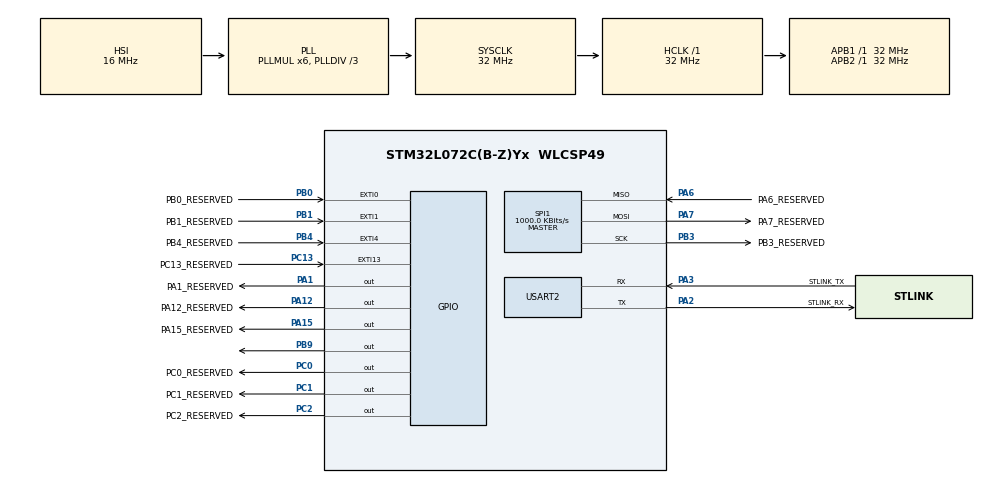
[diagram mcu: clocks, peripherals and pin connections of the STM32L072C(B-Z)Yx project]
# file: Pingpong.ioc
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Mcu.Family=STM32L0
Mcu.Name=STM32L072C(B-Z)Yx
Mcu.Package=WLCSP49
NVIC.EXTI0_1_IRQn=true\:0\:0\:false\:false\:true\:true\:true\:true
NVIC.EXTI4_15_IRQn=true\:0\:0\:false\:false\:true\:true\:true\:true
NVIC.RTC_IRQn=true\:0\:0\:false\:false\:true\:true\:true\:true
NVIC.TIM2_IRQn=true\:0\:0\:false\:false\:true\:true\:true\:true
NVIC.USART2_IRQn=true\:0\:0\:false\:false\:true\:true\:true\:true
PA1.GPIO_Label=PA1_RESERVED
PA1.GPIO_Speed=GPIO_SPEED_FREQ_HIGH
PA1.PinState=GPIO_PIN_RESET
PA1.Signal=GPIO_Output
PA12.GPIO_Label=PA12_RESERVED
PA12.GPIO_Speed=GPIO_SPEED_FREQ_HIGH
PA12.Signal=GPIO_Output
PA15.GPIO_Label=PA15_RESERVED
PA15.GPIO_Speed=GPIO_SPEED_FREQ_HIGH
PA15.Signal=GPIO_Output
PA2.GPIO_Label=STLINK_RX
PA2.Mode=Asynchronous
PA2.Signal=USART2_TX
PA3.GPIO_Label=STLINK_TX
PA3.Mode=Asynchronous
PA3.Signal=USART2_RX
PA6.GPIO_Label=PA6_RESERVED
PA6.Mode=Full_Duplex_Master
PA6.Signal=SPI1_MISO
PA7.GPIO_Label=PA7_RESERVED
PA7.Mode=Full_Duplex_Master
PA7.Signal=SPI1_MOSI
PB0.GPIO_Label=PB0_RESERVED
PB0.Signal=GPXTI0
PB1.GPIO_Label=PB1_RESERVED
PB1.Signal=GPXTI1
PB3.GPIO_Label=PB3_RESERVED
PB3.Mode=Full_Duplex_Master
PB3.Signal=SPI1_SCK
PB4.GPIO_Label=PB4_RESERVED
PB4.Signal=GPXTI4
PB9.Signal=GPIO_Output
PC0.GPIO_Label=PC0_RESERVED
PC0.GPIO_Speed=GPIO_SPEED_FREQ_HIGH
PC0.Signal=GPIO_Output
PC1.GPIO_Label=PC1_RESERVED
PC1.GPIO_Speed=GPIO_SPEED_FREQ_HIGH
PC1.Signal=GPIO_Output
PC13.GPIO_Label=PC13_RESERVED
PC13.Signal=GPXTI13
PC2.GPIO_Label=PC2_RESERVED
PC2.GPIO_Speed=GPIO_SPEED_FREQ_HIGH
PC2.Signal=GPIO_Output
PH0-OSC_IN.Mode=HSE-External-Oscillator
PH0-OSC_IN.Signal=RCC_OSC_IN
PH1-OSC_OUT.Mode=HSE-External-Oscillator
PH1-OSC_OUT.Signal=RCC_OSC_OUT
ProjectManager.HeapSize=0x200
ProjectManager.StackSize=0x400
ProjectManager.TargetToolchain=STM32CubeIDE
RCC.AHBFreq_Value=32000000
RCC.APB1Freq_Value=32000000
RCC.APB1TimFreq_Value=32000000
RCC.APB2Freq_Value=32000000
RCC.APB2TimFreq_Value=32000000
RCC.HCLKFreq_Value=32000000
RCC.HSE_VALUE=8000000
RCC.HSI16_VALUE=16000000
RCC.HSI48_VALUE=48000000
RCC.HSI_VALUE=16000000
RCC.LSE_VALUE=32768
RCC.MSI_VALUE=2097000
RCC.PLLDIV=RCC_PLLDIV_3
RCC.PLLMUL=RCC_PLLMUL_6
RCC.SYSCLKFreq_VALUE=32000000
RCC.SYSCLKSource=RCC_SYSCLKSOURCE_PLLCLK
RCC.VCOOutputFreq_Value=96000000
RTC.Alarm-Alarm\ A=RTC_ALARM_A
RTC.AlarmSubSecondMask-Alarm\ A=RTC_ALARMSUBSECONDMASK_NONE
RTC.AsynchPrediv=31
RTC.Format=RTC_FORMAT_BIN
RTC.SynchPrediv=1023
SPI1.BaudRatePrescaler=SPI_BAUDRATEPRESCALER_32
SPI1.CalculateBaudRate=1000.0 KBits/s
SPI1.Direction=SPI_DIRECTION_2LINES
SPI1.Mode=SPI_MODE_MASTER
SPI1.VirtualType=VM_MASTER
TIM2.Prescaler=31
USART2.VirtualMode-Asynchronous=VM_ASYNC
VP_RTC_VS_RTC_Activate.Mode=RTC_Enabled
VP_RTC_VS_RTC_Alarm_A_Intern.Mode=Alarm A
VP_RTC_VS_RTC_Calendar.Mode=RTC_Calendar
VP_TIM2_VS_ClockSourceINT.Mode=Internal
board=B-L072Z-LRWAN1

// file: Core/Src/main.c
/* USER CODE BEGIN Header */
/**
  ******************************************************************************
  * @file           : main.c
  * @brief          : Main program body
  ******************************************************************************
  * @attention
  *
  * Copyright (c) 2023 STMicroelectronics.
  * All rights reserved.
  *
  * This software is licensed under terms that can be found in the LICENSE file
  * in the root directory of this software component.
  * If no LICENSE file comes with this software, it is provided AS-IS.
  *
  ******************************************************************************
  */
/* USER CODE END Header */
#include "main.h"

/* USER CODE BEGIN Includes */
#include "stdio.h"
#include "stm32l0xx_hal.h"

/* USER CODE END Includes */

RTC_HandleTypeDef hrtc;

SPI_HandleTypeDef hspi1;

TIM_HandleTypeDef htim2;

UART_HandleTypeDef huart2;

void SystemClock_Config(void);
static void MX_GPIO_Init(void);
static void MX_RTC_Init(void);
static void MX_SPI1_Init(void);
static void MX_USART2_UART_Init(void);
static void MX_TIM2_Init(void);

/* USER CODE BEGIN 0 */
#define DHT11_PORT GPIOB
#define DHT11_PIN GPIO_PIN_9
uint8_t  SUM;
uint32_t pMillis, cMillis;
float tCelsius = 0;
//float tFahrenheit = 0;
float RH = 0;
//uint8_t TFI = 0;
//uint8_t TFD = 0;
char strCopy[15];

uint8_t test[]="hello !!!";
uint8_t n1[] = "\r\n";
uint8_t test1[]="hello";
uint8_t urtrx[]={0};

uint8_t dht_data[4];

// Définir la taille des tableaux de données
#define DATA_SIZE 8

// Déclarer les tableaux de données en tant que variables globales
uint8_t RHI[DATA_SIZE];
uint8_t RHD[DATA_SIZE];
uint8_t TCI[DATA_SIZE];
uint8_t TCD[DATA_SIZE];

void microDelay (uint16_t delay)
{
  __HAL_TIM_SET_COUNTER(&htim2, 0);
  while (__HAL_TIM_GET_COUNTER(&htim2) < delay);
}

uint8_t DHT11_Start (void)
{
  uint8_t Response = 0;
  GPIO_InitTypeDef GPIO_InitStructPrivate = {0};
  GPIO_InitStructPrivate.Pin = DHT11_PIN;
  GPIO_InitStructPrivate.Mode = GPIO_MODE_OUTPUT_PP;
  GPIO_InitStructPrivate.Speed = GPIO_SPEED_FREQ_LOW;
  GPIO_InitStructPrivate.Pull = GPIO_NOPULL;
  HAL_GPIO_Init(DHT11_PORT, &GPIO_InitStructPrivate); // set the pin as output
  HAL_GPIO_WritePin (DHT11_PORT, DHT11_PIN, 0);   // pull the pin low
  HAL_Delay(20);   // wait for 20ms
  HAL_GPIO_WritePin (DHT11_PORT, DHT11_PIN, 1);   // pull the pin high
  microDelay (30);   // wait for 30ms
  GPIO_InitStructPrivate.Mode = GPIO_MODE_INPUT;
  GPIO_InitStructPrivate.Pull = GPIO_PULLUP;
  HAL_GPIO_Init(DHT11_PORT, &GPIO_InitStructPrivate); // set the pin as input
  microDelay (40);
  if (!(HAL_GPIO_ReadPin (DHT11_PORT, DHT11_PIN)))
  {
    microDelay (80);
    if ((HAL_GPIO_ReadPin (DHT11_PORT, DHT11_PIN))) Response = 1;
  }
  pMillis = HAL_GetTick();
  cMillis = HAL_GetTick();
  while ((HAL_GPIO_ReadPin (DHT11_PORT, DHT11_PIN)) && pMillis + 2 > cMillis)
  {
    cMillis = HAL_GetTick();
  }
  return Response;
}
uint8_t DHT11_Read (void)
{
  uint8_t a,b;
  for (a=0;a<8;a++)
  {
    pMillis = HAL_GetTick();
    cMillis = HAL_GetTick();
    while (!(HAL_GPIO_ReadPin (DHT11_PORT, DHT11_PIN)) && pMillis + 2 > cMillis)
    {  // wait for the pin to go high
      cMillis = HAL_GetTick();
    }
    microDelay (40);   // wait for 40 us
    if (!(HAL_GPIO_ReadPin (DHT11_PORT, DHT11_PIN)))   // if the pin is low
      b&= ~(1<<(7-a));
    else
      b|= (1<<(7-a));
    pMillis = HAL_GetTick();
    cMillis = HAL_GetTick();
    while ((HAL_GPIO_ReadPin (DHT11_PORT, DHT11_PIN)) && pMillis + 2 > cMillis)
    {  // wait for the pin to go low
      cMillis = HAL_GetTick();
    }
  }
  return b;
}
// Déclarer les fonctions de l'UART
void uart_transmit_data(uint8_t* data, uint16_t size);
void uart_receive_data(uint8_t* data, uint16_t size);
/* USER CODE END 0 */

int main(void)
{
  /* USER CODE BEGIN 1 */
	// Initialiser les tableaux de données avec des valeurs par défaut
	    for (int i = 0; i < DATA_SIZE; i++) {
	        RHI[i] = 0;
	        RHD[i] = 0;
	        TCI[i] = 0;
	        TCD[i] = 0;
	    }

	    // Appeler la fonction de réception de l'UART pour remplir les tableaux avec les données reçues
	    uart_receive_data(RHI, DATA_SIZE);
	    uart_receive_data(RHD, DATA_SIZE);
	    uart_receive_data(TCI, DATA_SIZE);
	    uart_receive_data(TCD, DATA_SIZE);

	    // Effectuer d'autres opérations avec les tableaux de données reçus

	    // Appeler la fonction d'envoi de l'UART pour transmettre les tableaux de données
	    uart_transmit_data(RHI, DATA_SIZE);
	    uart_transmit_data(RHD, DATA_SIZE);
	    uart_transmit_data(TCI, DATA_SIZE);
	    uart_transmit_data(TCD, DATA_SIZE);
  /* USER CODE END 1 */

  /* MCU Configuration--------------------------------------------------------*/

  /* Reset of all peripherals, Initializes the Flash interface and the Systick. */
  HAL_Init();

  /* Configure the system clock */
  SystemClock_Config();

  /* Initialize all configured peripherals */
  MX_GPIO_Init();
  MX_RTC_Init();
  MX_SPI1_Init();
  MX_USART2_UART_Init();
  MX_TIM2_Init();
  /* USER CODE BEGIN 2 */
  HAL_TIM_Base_Start(&htim2);

   //HAL_UART_Transmit(&huart2, test, sizeof(test), 25);
   //HAL_UART_Transmit(&huart2, n1, sizeof(n1), 25);
   //HAL_UART_Transmit(&huart2, test1, sizeof(test1), 25);

  // HAL_UART_Receive(&huart2, urtrx, sizeof(urtrx), 5000);
  // HAL_UART_Transmit(&huart2, n1, sizeof(n1), 25);
  // HAL_UART_Transmit(&huart2, urtrx, sizeof(urtrx), 25);

   //HAL_UART_Transmit(&huart2, RHI, sizeof(TCI), 25);
   //HAL_UART_Transmit(&huart2, n1, sizeof(n1), 25);
   //HAL_UART_Transmit(&huart2, RHD, sizeof(TCD), 25);

   //HAL_UART_Receive(&huart2, urtrx, sizeof(urtrx), 5000);
   //HAL_UART_Transmit(&huart2, n1, sizeof(n1), 25);
  // HAL_UART_Transmit(&huart2, urtrx, sizeof(urtrx), 25);
  /* USER CODE END 2 */

  /* Infinite loop */
  /* USER CODE BEGIN WHILE */
  while (1)
  {

	  if(DHT11_Start())
	      {
		  // Lire les données DHT11 dans le tableau temporaire
		//  DHT11_Read(dht_data);

		  // Copier les éléments du tableau temporaire dans les tableaux correspondants
		  for (int i = 0; i < DATA_SIZE; i++) {
		      RHI[i] = dht_data[0];
		      RHD[i] = dht_data[1];
		      TCI[i] = dht_data[2];
		      TCD[i] = dht_data[3];
		  }
	        //RHI = DHT11_Read(); // Relative humidity integral
	       // RHD = DHT11_Read(); // Relative humidity decimal
	       // TCI = DHT11_Read(); // Celsius integral
	       // TCD = DHT11_Read(); // Celsius decimal
	        SUM = DHT11_Read(); // Check sum
	        if (*RHI + *RHD + *TCI + *TCD == SUM)
	        {
	          // Can use RHI and TCI for any purposes if whole number only needed
	        	tCelsius = (float)(*TCI) + (float)(*TCD/10.0);
	        	RH = (float)(*RHI) + (float)(*RHD/10.0);
	         // tFahrenheit = tCelsius * 9/5 + 32;
	          //HAL_UART_Transmit(&huart2, RHI, sizeof(TCI), 25);
	          //HAL_UART_Transmit(&huart2, n1, sizeof(n1), 25);
	          //HAL_UART_Transmit(&huart2, RHD, sizeof(TCD), 25);

	          //HAL_UART_Receive(&huart2, urtrx, sizeof(urtrx), 5000);
	          //HAL_UART_Transmit(&huart2, n1, sizeof(n1), 25);
	          //HAL_UART_Transmit(&huart2, urtrx, sizeof(urtrx), 25);
	          // Can use tCelsius, tFahrenheit and RH for any purposes
	         // TFI = tFahrenheit;  // Fahrenheit integral
	          //TFD = tFahrenheit*10-TFI*10; // Fahrenheit decimal
	          //printf(strCopy,"%d.%d C  \n ", TCI, TCD);

	         // printf(strCopy,"%d.%d F  \n ", TFI, TFD);

	          //printf(strCopy,"%d.%d %%  \n ", RHI, RHD);
	        }
	      }
	      HAL_Delay(2000);
    /* USER CODE END WHILE */

  }
}

void SystemClock_Config(void)
{
  RCC_OscInitTypeDef RCC_OscInitStruct = {0};
  RCC_ClkInitTypeDef RCC_ClkInitStruct = {0};
  RCC_PeriphCLKInitTypeDef PeriphClkInit = {0};

  /** Configure the main internal regulator output voltage
  */
  __HAL_PWR_VOLTAGESCALING_CONFIG(PWR_REGULATOR_VOLTAGE_SCALE1);

  /** Initializes the RCC Oscillators according to the specified parameters
  * in the RCC_OscInitTypeDef structure.
  */
  RCC_OscInitStruct.OscillatorType = RCC_OSCILLATORTYPE_HSI|RCC_OSCILLATORTYPE_LSI;
  RCC_OscInitStruct.HSIState = RCC_HSI_ON;
  RCC_OscInitStruct.HSICalibrationValue = RCC_HSICALIBRATION_DEFAULT;
  RCC_OscInitStruct.LSIState = RCC_LSI_ON;
  RCC_OscInitStruct.PLL.PLLState = RCC_PLL_ON;
  RCC_OscInitStruct.PLL.PLLSource = RCC_PLLSOURCE_HSI;
  RCC_OscInitStruct.PLL.PLLMUL = RCC_PLLMUL_6;
  RCC_OscInitStruct.PLL.PLLDIV = RCC_PLLDIV_3;
  if (HAL_RCC_OscConfig(&RCC_OscInitStruct) != HAL_OK)
  {
    Error_Handler();
  }

  /** Initializes the CPU, AHB and APB buses clocks
  */
  RCC_ClkInitStruct.ClockType = RCC_CLOCKTYPE_HCLK|RCC_CLOCKTYPE_SYSCLK
                              |RCC_CLOCKTYPE_PCLK1|RCC_CLOCKTYPE_PCLK2;
  RCC_ClkInitStruct.SYSCLKSource = RCC_SYSCLKSOURCE_PLLCLK;
  RCC_ClkInitStruct.AHBCLKDivider = RCC_SYSCLK_DIV1;
  RCC_ClkInitStruct.APB1CLKDivider = RCC_HCLK_DIV1;
  RCC_ClkInitStruct.APB2CLKDivider = RCC_HCLK_DIV1;

  if (HAL_RCC_ClockConfig(&RCC_ClkInitStruct, FLASH_LATENCY_1) != HAL_OK)
  {
    Error_Handler();
  }
  PeriphClkInit.PeriphClockSelection = RCC_PERIPHCLK_USART2|RCC_PERIPHCLK_RTC;
  PeriphClkInit.Usart2ClockSelection = RCC_USART2CLKSOURCE_PCLK1;
  PeriphClkInit.RTCClockSelection = RCC_RTCCLKSOURCE_LSI;
  if (HAL_RCCEx_PeriphCLKConfig(&PeriphClkInit) != HAL_OK)
  {
    Error_Handler();
  }
}

static void MX_RTC_Init(void)
{

  RTC_TimeTypeDef sTime = {0};
  RTC_DateTypeDef sDate = {0};
  RTC_AlarmTypeDef sAlarm = {0};

  /** Initialize RTC Only
  */
  hrtc.Instance = RTC;
  hrtc.Init.HourFormat = RTC_HOURFORMAT_24;
  hrtc.Init.AsynchPrediv = 31;
  hrtc.Init.SynchPrediv = 1023;
  hrtc.Init.OutPut = RTC_OUTPUT_DISABLE;
  hrtc.Init.OutPutRemap = RTC_OUTPUT_REMAP_NONE;
  hrtc.Init.OutPutPolarity = RTC_OUTPUT_POLARITY_HIGH;
  hrtc.Init.OutPutType = RTC_OUTPUT_TYPE_OPENDRAIN;
  if (HAL_RTC_Init(&hrtc) != HAL_OK)
  {
    Error_Handler();
  }

  /** Initialize RTC and set the Time and Date
  */
  sTime.Hours = 0;
  sTime.Minutes = 0;
  sTime.Seconds = 0;
  sTime.DayLightSaving = RTC_DAYLIGHTSAVING_NONE;
  sTime.StoreOperation = RTC_STOREOPERATION_RESET;
  if (HAL_RTC_SetTime(&hrtc, &sTime, RTC_FORMAT_BIN) != HAL_OK)
  {
    Error_Handler();
  }
  sDate.WeekDay = RTC_WEEKDAY_MONDAY;
  sDate.Month = RTC_MONTH_JANUARY;
  sDate.Date = 1;
  sDate.Year = 0;

  if (HAL_RTC_SetDate(&hrtc, &sDate, RTC_FORMAT_BIN) != HAL_OK)
  {
    Error_Handler();
  }

  /** Enable the Alarm A
  */
  sAlarm.AlarmTime.Hours = 0;
  sAlarm.AlarmTime.Minutes = 0;
  sAlarm.AlarmTime.Seconds = 0;
  sAlarm.AlarmTime.SubSeconds = 0;
  sAlarm.AlarmTime.DayLightSaving = RTC_DAYLIGHTSAVING_NONE;
  sAlarm.AlarmTime.StoreOperation = RTC_STOREOPERATION_RESET;
  sAlarm.AlarmMask = RTC_ALARMMASK_NONE;
  sAlarm.AlarmSubSecondMask = RTC_ALARMSUBSECONDMASK_NONE;
  sAlarm.AlarmDateWeekDaySel = RTC_ALARMDATEWEEKDAYSEL_DATE;
  sAlarm.AlarmDateWeekDay = 1;
  sAlarm.Alarm = RTC_ALARM_A;
  if (HAL_RTC_SetAlarm_IT(&hrtc, &sAlarm, RTC_FORMAT_BIN) != HAL_OK)
  {
    Error_Handler();
  }

}

static void MX_SPI1_Init(void)
{

  /* SPI1 parameter configuration*/
  hspi1.Instance = SPI1;
  hspi1.Init.Mode = SPI_MODE_MASTER;
  hspi1.Init.Direction = SPI_DIRECTION_2LINES;
  hspi1.Init.DataSize = SPI_DATASIZE_8BIT;
  hspi1.Init.CLKPolarity = SPI_POLARITY_LOW;
  hspi1.Init.CLKPhase = SPI_PHASE_1EDGE;
  hspi1.Init.NSS = SPI_NSS_SOFT;
  hspi1.Init.BaudRatePrescaler = SPI_BAUDRATEPRESCALER_32;
  hspi1.Init.FirstBit = SPI_FIRSTBIT_MSB;
  hspi1.Init.TIMode = SPI_TIMODE_DISABLE;
  hspi1.Init.CRCCalculation = SPI_CRCCALCULATION_DISABLE;
  hspi1.Init.CRCPolynomial = 7;
  if (HAL_SPI_Init(&hspi1) != HAL_OK)
  {
    Error_Handler();
  }

}

static void MX_TIM2_Init(void)
{

  TIM_ClockConfigTypeDef sClockSourceConfig = {0};
  TIM_MasterConfigTypeDef sMasterConfig = {0};

  htim2.Instance = TIM2;
  htim2.Init.Prescaler = 31;
  htim2.Init.CounterMode = TIM_COUNTERMODE_UP;
  htim2.Init.Period = 65535;
  htim2.Init.ClockDivision = TIM_CLOCKDIVISION_DIV1;
  htim2.Init.AutoReloadPreload = TIM_AUTORELOAD_PRELOAD_DISABLE;
  if (HAL_TIM_Base_Init(&htim2) != HAL_OK)
  {
    Error_Handler();
  }
  sClockSourceConfig.ClockSource = TIM_CLOCKSOURCE_INTERNAL;
  if (HAL_TIM_ConfigClockSource(&htim2, &sClockSourceConfig) != HAL_OK)
  {
    Error_Handler();
  }
  sMasterConfig.MasterOutputTrigger = TIM_TRGO_RESET;
  sMasterConfig.MasterSlaveMode = TIM_MASTERSLAVEMODE_DISABLE;
  if (HAL_TIMEx_MasterConfigSynchronization(&htim2, &sMasterConfig) != HAL_OK)
  {
    Error_Handler();
  }

}

static void MX_USART2_UART_Init(void)
{

  huart2.Instance = USART2;
  huart2.Init.BaudRate = 115200;
  huart2.Init.WordLength = UART_WORDLENGTH_8B;
  huart2.Init.StopBits = UART_STOPBITS_1;
  huart2.Init.Parity = UART_PARITY_NONE;
  huart2.Init.Mode = UART_MODE_TX_RX;
  huart2.Init.HwFlowCtl = UART_HWCONTROL_NONE;
  huart2.Init.OverSampling = UART_OVERSAMPLING_16;
  huart2.Init.OneBitSampling = UART_ONE_BIT_SAMPLE_DISABLE;
  huart2.AdvancedInit.AdvFeatureInit = UART_ADVFEATURE_NO_INIT;
  if (HAL_UART_Init(&huart2) != HAL_OK)
  {
    Error_Handler();
  }

}

static void MX_GPIO_Init(void)
{
  GPIO_InitTypeDef GPIO_InitStruct = {0};

  /* GPIO Ports Clock Enable */
  __HAL_RCC_GPIOA_CLK_ENABLE();
  __HAL_RCC_GPIOB_CLK_ENABLE();
  __HAL_RCC_GPIOC_CLK_ENABLE();
  __HAL_RCC_GPIOH_CLK_ENABLE();

  /*Configure GPIO pin Output Level */
  HAL_GPIO_WritePin(GPIOA, PA15_RESERVED_Pin|PA12_RESERVED_Pin|PA1_RESERVED_Pin, GPIO_PIN_RESET);

  /*Configure GPIO pin Output Level */
  HAL_GPIO_WritePin(GPIOB, GPIO_PIN_9, GPIO_PIN_RESET);

  /*Configure GPIO pin Output Level */
  HAL_GPIO_WritePin(GPIOC, PC1_RESERVED_Pin|PC0_RESERVED_Pin|PC2_RESERVED_Pin, GPIO_PIN_RESET);

  /*Configure GPIO pins : PA15_RESERVED_Pin PA12_RESERVED_Pin PA1_RESERVED_Pin */
  GPIO_InitStruct.Pin = PA15_RESERVED_Pin|PA12_RESERVED_Pin|PA1_RESERVED_Pin;
  GPIO_InitStruct.Mode = GPIO_MODE_OUTPUT_PP;
  GPIO_InitStruct.Pull = GPIO_NOPULL;
  GPIO_InitStruct.Speed = GPIO_SPEED_FREQ_HIGH;
  HAL_GPIO_Init(GPIOA, &GPIO_InitStruct);

  /*Configure GPIO pin : PB9 */
  GPIO_InitStruct.Pin = GPIO_PIN_9;
  GPIO_InitStruct.Mode = GPIO_MODE_OUTPUT_PP;
  GPIO_InitStruct.Pull = GPIO_NOPULL;
  GPIO_InitStruct.Speed = GPIO_SPEED_FREQ_LOW;
  HAL_GPIO_Init(GPIOB, &GPIO_InitStruct);

  /*Configure GPIO pins : PB4_RESERVED_Pin PB1_RESERVED_Pin PB0_RESERVED_Pin */
  GPIO_InitStruct.Pin = PB4_RESERVED_Pin|PB1_RESERVED_Pin|PB0_RESERVED_Pin;
  GPIO_InitStruct.Mode = GPIO_MODE_IT_RISING;
  GPIO_InitStruct.Pull = GPIO_NOPULL;
  HAL_GPIO_Init(GPIOB, &GPIO_InitStruct);

  /*Configure GPIO pin : PC13_RESERVED_Pin */
  GPIO_InitStruct.Pin = PC13_RESERVED_Pin;
  GPIO_InitStruct.Mode = GPIO_MODE_IT_RISING;
  GPIO_InitStruct.Pull = GPIO_NOPULL;
  HAL_GPIO_Init(PC13_RESERVED_GPIO_Port, &GPIO_InitStruct);

  /*Configure GPIO pins : PC1_RESERVED_Pin PC0_RESERVED_Pin PC2_RESERVED_Pin */
  GPIO_InitStruct.Pin = PC1_RESERVED_Pin|PC0_RESERVED_Pin|PC2_RESERVED_Pin;
  GPIO_InitStruct.Mode = GPIO_MODE_OUTPUT_PP;
  GPIO_InitStruct.Pull = GPIO_NOPULL;
  GPIO_InitStruct.Speed = GPIO_SPEED_FREQ_HIGH;
  HAL_GPIO_Init(GPIOC, &GPIO_InitStruct);

  /* EXTI interrupt init*/
  HAL_NVIC_SetPriority(EXTI0_1_IRQn, 0, 0);
  HAL_NVIC_EnableIRQ(EXTI0_1_IRQn);

  HAL_NVIC_SetPriority(EXTI4_15_IRQn, 0, 0);
  HAL_NVIC_EnableIRQ(EXTI4_15_IRQn);

}

/* USER CODE BEGIN 4 */
// Implémenter la fonction d'envoi de données de l'UART
void uart_transmit_data(uint8_t* data, uint16_t size)
{
    // Appeler la fonction HAL_UART_Transmit avec les arguments corrects
    HAL_UART_Transmit(&huart2, data, size, HAL_MAX_DELAY);
}

// Implémenter la fonction de réception de données de l'UART
void uart_receive_data(uint8_t* data, uint16_t size)
{
    // Appeler la fonction HAL_UART_Receive avec les arguments corrects
    HAL_UART_Receive(&huart2, data, size, HAL_MAX_DELAY);
}

/* USER CODE END 4 */

void Error_Handler(void)
{
  __disable_irq();
  while (1)
  {
  }
}
